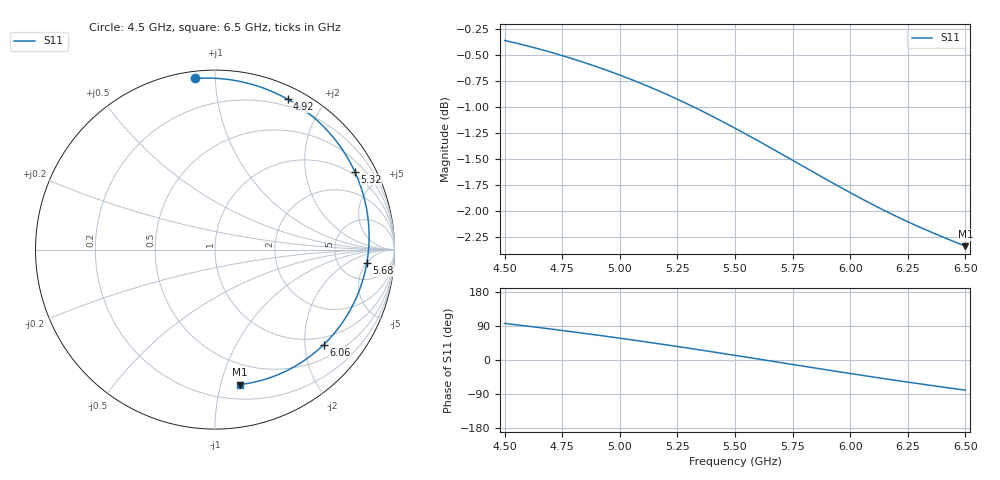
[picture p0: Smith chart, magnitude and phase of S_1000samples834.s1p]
! TOUCHSTONE file generated by CST MICROWAVE STUDIO
! Date and time: Sat Oct 29 13:24:39 2022
! Project name: L.cst
! Parameters = {Di=1.27; Epsilon_r=1.56; InnerDiameter=1.27; Length=2; Lf=10; Lg=60; OuterConductorThickness=0.2921; OuterDiameter=3.6; Wf=3; Wp=41.2; de=1.5; df=6.8; g=0.8; gx=1.4906; gy=4.97776; h=2.34; hf=1.524; px=8.84525; py=8.78395; w=9.7; wx=7.35465; wy=3.80619}
! Header version: 2018
! Port assignment regex: !\s*Touchstone port\s*([0-9]+)\s*=\s*(CST MWS port|CST DS port)\s*([0-9]+|Zmin|Zmax)\s*\(\"(.*)\"\)(\s*mode\s*([0-9]+))?.*
! Touchstone port assignment:
! Touchstone port 1 = CST MWS port 1 ("")
# GHz S DB R 50
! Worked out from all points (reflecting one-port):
!   101 points, 4.5 GHz to 6.5 GHz, reference 50 ohm
!   lowest |S11| = -2.3 dB at 6.5 GHz (marker M1), VSWR 7.49, Z = 15.9 - j57.5 ohm
!   phase of S11 starts at 97 deg and turns -176 deg over the sweep
!   S11 on the Smith chart (normalised r, x): 4.5 GHz: 0.04, +0.89; 4.92 GHz: 0.13, +1.58; 5.32 GHz: 0.86, +3.65; 5.68 GHz: 10, -5; 6.06 GHz: 0.81, -2.43; 6.5 GHz: 0.32, -1.15
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4.5  -0.36 96.6
4.58  -0.40 90.8
4.64  -0.43 86.3
4.7  -0.47 81.8
4.76  -0.51 77.1
4.84  -0.56 70.8
4.92  -0.63 64.3
5  -0.69 57.6
5.06  -0.74 52.5
5.12  -0.80 47.2
5.2  -0.87 40.1
5.26  -0.93 34.7
5.32  -1.00 29.2
5.42  -1.11 19.8
5.5  -1.20 12.3
5.58  -1.30 4.6
5.68  -1.42 -5.0
5.76  -1.52 -12.7
5.82  -1.60 -18.5
5.88  -1.67 -24.3
6  -1.82 -35.6
6.06  -1.89 -41.2
6.16  -2.00 -50.3
6.26  -2.11 -59.3
6.32  -2.17 -64.5
6.38  -2.23 -69.6
6.44  -2.28 -74.6
6.5  -2.33 -79.5
